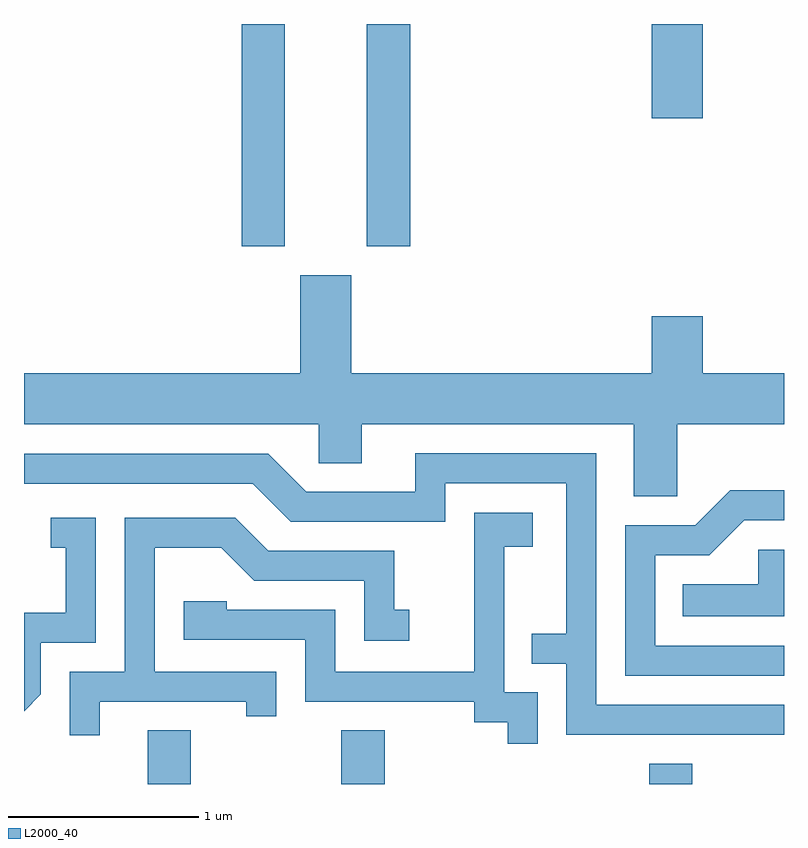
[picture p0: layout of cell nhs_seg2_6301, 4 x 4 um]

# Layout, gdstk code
import gdstk
lib = gdstk.Library(unit=1e-6, precision=1e-09)
def R(c, l, rs):  # rectangles x0, y0, x1, y1
    for r in rs: c.add(gdstk.rectangle(r[:2], r[2:], *l))
def P(c, l, *ps):  # polygons
    for p in ps: c.add(gdstk.Polygon(p, *l))
L2000_40 = (2000, 40)

nhs_seg2_6301 = lib.new_cell('nhs_seg2_6301')
R(nhs_seg2_6301, L2000_40, [(372.261,999.802,372.489,1000.084), (373.281,999.802,373.509,1000.084), (374.901,999.802,375.129,999.909), (372.756,1002.631,372.984,1003.802), (373.416,1002.631,373.644,1003.802), (374.916,1003.306,375.184,1003.802)])
P(nhs_seg2_6301, L2000_40, [(375.049,1001.696),(375.611,1001.696),(375.611,1001.964),(375.184,1001.964),(375.184,1002.264),(374.916,1002.264),(374.916,1001.964),(373.334,1001.964),(373.334,1002.479),(373.066,1002.479),(373.066,1001.964),(371.611,1001.964),(371.611,1001.696),(373.161,1001.696),(373.161,1001.491),(373.389,1001.491),(373.389,1001.696),(374.821,1001.696),(374.821,1001.316),(375.049,1001.316)],
  [(375.611,1000.219),(374.624,1000.219),(374.624,1001.544),(373.671,1001.544),(373.671,1001.339),(373.097,1001.339),(372.897,1001.539),(371.611,1001.539),(371.611,1001.381),(372.814,1001.381),(373.014,1001.181),(373.829,1001.181),(373.829,1001.386),(374.466,1001.386),(374.466,1000.594),(374.283,1000.594),(374.283,1000.436),(374.466,1000.436),(374.466,1000.061),(375.611,1000.061)],
  [(375.611,1000.529),(374.934,1000.529),(374.934,1001.006),(375.217,1001.006),(375.402,1001.191),(375.611,1001.191),(375.611,1001.349),(375.329,1001.349),(375.144,1001.164),(374.776,1001.164),(374.776,1000.371),(375.611,1000.371)],
  [(374.314,1000.284),(374.139,1000.284),(374.139,1001.051),(374.289,1001.051),(374.289,1001.229),(373.981,1001.229),(373.981,1000.394),(373.249,1000.394),(373.249,1000.719),(372.679,1000.719),(372.679,1000.764),(372.451,1000.764),(372.451,1000.561),(373.091,1000.561),(373.091,1000.236),(373.981,1000.236),(373.981,1000.126),(374.156,1000.126),(374.156,1000.013),(374.314,1000.013)],
  [(371.699,1000.274),(371.699,1000.546),(371.989,1000.546),(371.989,1001.204),(371.753,1001.204),(371.753,1001.046),(371.831,1001.046),(371.831,1000.704),(371.611,1000.704),(371.611,1000.186)],
  [(372.009,1000.236),(372.781,1000.236),(372.781,1000.158),(372.939,1000.158),(372.939,1000.394),(372.299,1000.394),(372.299,1001.046),(372.649,1001.046),(372.824,1000.871),(373.401,1000.871),(373.401,1000.556),(373.638,1000.556),(373.638,1000.719),(373.559,1000.719),(373.559,1001.029),(372.897,1001.029),(372.722,1001.204),(372.141,1001.204),(372.141,1000.394),(371.851,1000.394),(371.851,1000.058),(372.009,1000.058)],
  [(375.611,1001.034),(375.476,1001.034),(375.476,1000.854),(375.078,1000.854),(375.078,1000.686),(375.611,1000.686)])

lib.write_gds('nhs_seg2_6301.gds')
